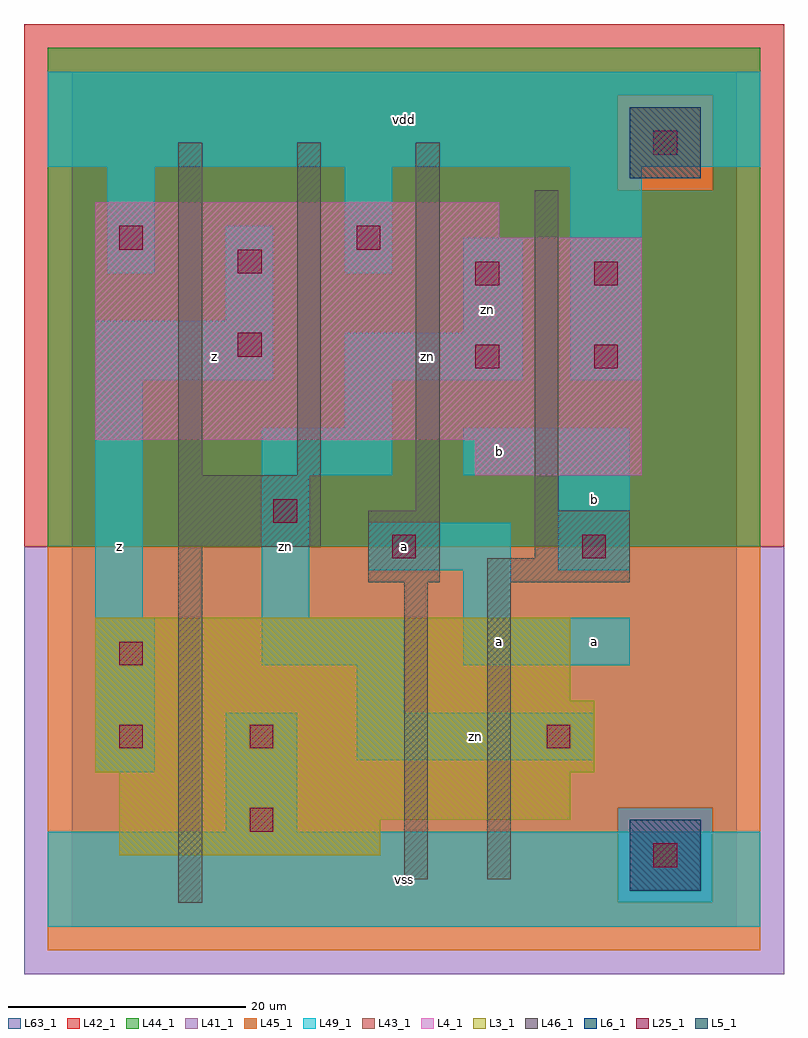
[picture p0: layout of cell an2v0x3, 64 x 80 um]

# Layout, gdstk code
import gdstk
lib = gdstk.Library(unit=1e-6, precision=1e-09)
def R(c, l, rs):  # rectangles x0, y0, x1, y1
    for r in rs: c.add(gdstk.rectangle(r[:2], r[2:], *l))
L3_1 = (3, 1)
L4_1 = (4, 1)
L5_1 = (5, 1)
L6_1 = (6, 1)
L25_1 = (25, 1)
L41_1 = (41, 1)
L42_1 = (42, 1)
L43_1 = (43, 1)
L44_1 = (44, 1)
L45_1 = (45, 1)
L46_1 = (46, 1)
L49_1 = (49, 1)
L63_1 = (63, 1)

an2v0x3 = lib.new_cell('an2v0x3')
R(an2v0x3, L3_1, [(4,6,26,9), (4,9,42,13), (2,13,44,19), (2,19,42,26)])
R(an2v0x3, L4_1, [(34,38,48,41), (2,41,48,58), (2,58,36,61)])
R(an2v0x3, L5_1, [(47,63,53,69)])
R(an2v0x3, L6_1, [(47,3,53,9), (47,3,53,9)])
R(an2v0x3, L25_1, [(49,5,51,7), (15,8,17,10), (4,15,6,17), (15,15,17,17), (40,15,42,17), (4,22,6,24), (27,31,29,33), (43,31,45,33), (17,34,19,36), (34,47,36,49), (44,47,46,49), (14,48,16,50), (34,54,36,56), (44,54,46,56), (14,55,16,57), (4,57,6,59), (24,57,26,59), (49,65,51,67)])
R(an2v0x3, L41_1, [(-4,-4,60,32)])
R(an2v0x3, L42_1, [(-4,32,60,76)])
R(an2v0x3, L43_1, [(47,3,53,9), (4,6,26,9), (4,9,42,13), (2,13,44,19), (2,19,42,26), (34,38,48,41), (2,41,48,58), (2,58,36,61), (47,63,53,69)])
R(an2v0x3, L44_1, [(46,2,54,10), (-2,32,58,62), (-2,62,46,70), (54,62,58,70), (-2,70,58,74)])
R(an2v0x3, L45_1, [(-2,-2,58,2), (-2,2,46,10), (54,2,58,10), (-2,10,58,32), (46,62,54,70)])
R(an2v0x3, L46_1, [(9,2,11,32), (28,4,30,29), (35,4,37,29), (25,29,31,35), (35,29,47,31), (39,31,47,35), (9,32,21,38), (29,35,31,66), (39,35,41,62), (9,38,11,66), (19,38,21,66)])
R(an2v0x3, L49_1, [(-2,0,58,8), (13,8,19,18), (2,13,7,26), (24,14,44,18), (24,18,28,22), (16,22,28,26), (33,22,47,26), (2,26,6,46), (16,26,20,38), (33,26,37,30), (25,30,37,34), (41,30,47,38), (16,38,27,42), (33,38,47,42), (23,42,27,46), (2,46,17,51), (23,46,38,50), (42,46,48,64), (33,50,38,58), (13,51,17,59), (3,55,7,64), (23,55,27,64), (-2,64,58,72)])
R(an2v0x3, L63_1, [(0,0,56,72)])
an2v0x3.add(gdstk.Label('z', (4,32), layer=49, texttype=1))
an2v0x3.add(gdstk.Label('zn', (18,32), layer=49, texttype=1))
an2v0x3.add(gdstk.Label('z', (12,48), layer=49, texttype=1))
an2v0x3.add(gdstk.Label('vss', (28,4), layer=49, texttype=1))
an2v0x3.add(gdstk.Label('a', (28,32), layer=49, texttype=1))
an2v0x3.add(gdstk.Label('a', (36,24), layer=49, texttype=1))
an2v0x3.add(gdstk.Label('b', (36,40), layer=49, texttype=1))
an2v0x3.add(gdstk.Label('zn', (30,48), layer=49, texttype=1))
an2v0x3.add(gdstk.Label('zn', (35,52), layer=49, texttype=1))
an2v0x3.add(gdstk.Label('vdd', (28,68), layer=49, texttype=1))
an2v0x3.add(gdstk.Label('zn', (34,16), layer=49, texttype=1))
an2v0x3.add(gdstk.Label('a', (44,24), layer=49, texttype=1))
an2v0x3.add(gdstk.Label('b', (44,36), layer=49, texttype=1))

lib.write_gds('an2v0x3.gds')
